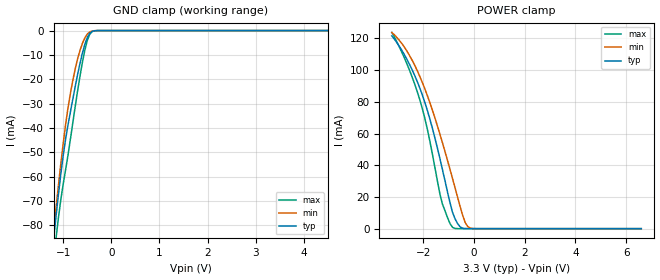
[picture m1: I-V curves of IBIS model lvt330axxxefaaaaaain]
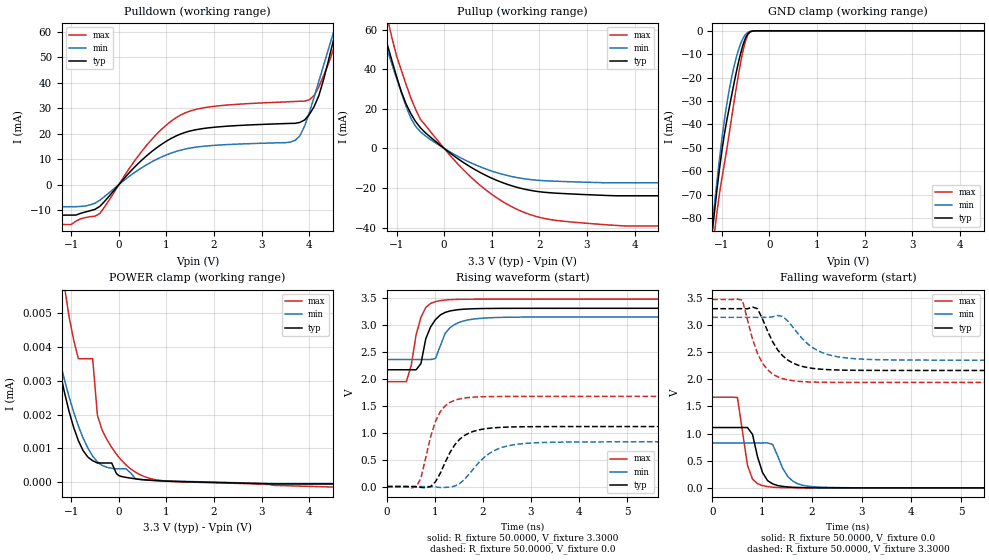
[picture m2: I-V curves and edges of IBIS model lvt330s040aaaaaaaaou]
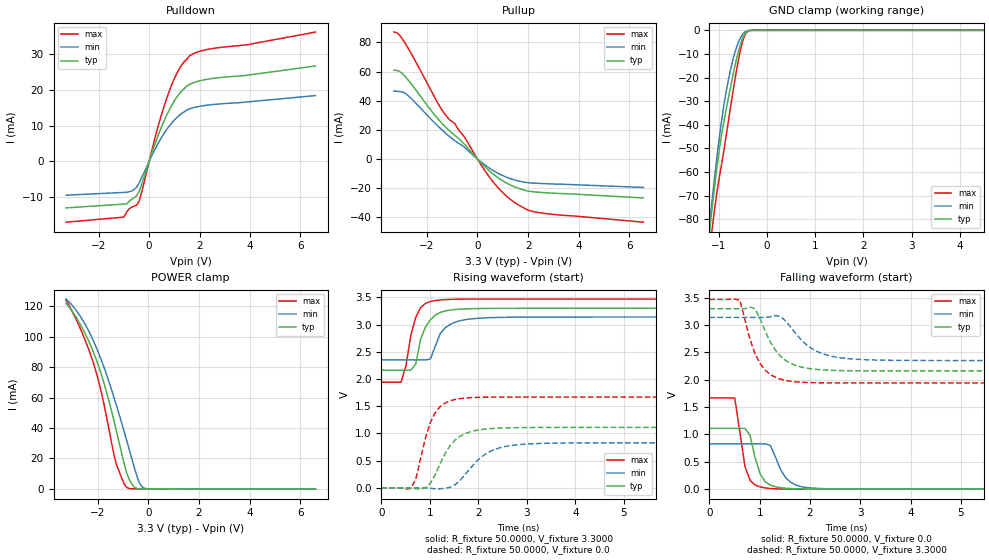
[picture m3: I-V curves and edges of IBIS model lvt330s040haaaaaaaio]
| IBIS Models Generator: Lattice Diamond (64-bit) 3.12.0.240.2
| Generate date: Tue Aug 17 06:21:03 2021
| IBIS File LibisMaker.ibs
| LibisGen v2.0.1.0, 02/25/2008, Lattice Semiconductor Corporation
| Modified by LibisMaker v2.0.1.0, 02/25/2008, Lattice Semiconductor
| North Carolina State University, ERL, 2006
[IBIS ver]   3.2
[File Name]   RAM2GS_LCMXO2_640HC~.ibs
[File Rev]   3.5
[Date]   Thu Sep 10 07:33:23 PDT 2020
[Source]   Lattice Semiconductor cs200fl Process
   LCMXO2-640HC   FINAL
   Lattice Semiconductor has worked hard to ensure the
   models below are accurate and complete.  However, the
   data below was generated using simulation of the
   input/output model files for the silicon.  Therefore,
   the data below is for reference and initial design
   purposes only.
   Lattice Semiconductor grants permission to use this
   data for use in printed circuit design using this
   Lattice programmable logic device.  Other use of this
   code, including the selling or duplication of any
   portion is strictly prohibited.
|   NAMING CONVENTION
   The IBIS [Model] header is limited by the specification to a
   total of characters.  With such a set of characters available
   for naming models it becomes important to attempt to
   meaningfully encode the IO standards so they fit within the
   twenty character limit.  It would seem that twenty characters
   would provide room enough for describing IO's.  However, the
   PLD IO structure continues to grow more and more complex.  The
   complexity is making the twenty characters insuffiently
   descriptive.  In order to overcome this issue the naming
   convention described below is implemented to resolve the issue.
The twenty character space is managed as follows:
   bbbvvvsdddprugtcoixx
   b = standard
   v = voltage (x.xx V)
   s = slew code
   d = drive (xx.x ma)
   p = pullup code
   r = series resistance  or bank_vccio code
   u = terminate to vcc code
   g = terminate to gnd code
   t = terminate to vtt code
   c = common mode termination mode
   o = diff resistor code
   i = diff resistor current code
   x = reserved
   standard
   lvcmos   lvc
   lvcmosd   lvd
   lvcmosr   lvr
   lvds25e   lve
   lvttl   lvt
   lvttld   ltd
   pci   pci
   sstl_I   ss1
   sstl_II   ss2
   sstld_I   s1d
   sstld_II   s2d
   hstl_i   hs1
   hstl_ii   hs2
   hstld_i   h1d
   hstld_ii   h2d
   lvds25   lvs
   blvds25   blv
   blvds25e   blv
   mlvds25   mlv
   mlvds25e   mlv
   lvpecl33   lvp
   lvpecl33e   lvp
   rsds25   rsd
   rsds25e   rse
   mipi   mip
   mipi_lp   mip
   vref1   vr1
   vref2   vr2
   ref_res   rer
   slew
   na   a
   fast   f
   slow   s
   pullmode
   off   a
   pullup   b
   pulldown   c
   bushold   d
   clamp   e
   up_clamp   f
   down_clamp   g
   keeper_clamp   h
   impedance or Bank_vccio
   off   a
   25   b
   33   c
   50   d
   100   e
   3.3   f
   2.5   g
   1.8   h
   1.5   i
   1.2   j
   termVCC
   off   a
   50   b
   100   c
   120   d
   termGND
   off   a
   50   b
   100   c
   120   d
   termVTT
   off   a
   60   b
   75   c
   120   d
   150   e
   210   f
   VCMT
   off   a
   VCMT   b
   VTT   c
   DDR-2   d
   differential resistor
   off   a
   100   b
   diff drive
   NA   a
   2.0   b
   3.5   c
   1.25   f
   2.5   g
   Reserved   IO type
   in   input only
   ou   output
   io   I/O
   od   Open drain
   on   Inverting differential I/O
   (signal name only)
   op   Non-Inverting differential I/O
   (signal name only)
   Lattice Semiconductor Corporation
   5555 NE Moore Court
   Hillsboro, OR 97214
   U.S.A
   TEL: 1-800-Lattice (USA and Canada)
   408-826-6000 (other locations)
   web: http://www.latticesemi.com/
   email: techsupport@latticesemi.com
[Disclaimer] This IBIS source code is intended as a design reference
   which illustrates how the Lattice Semiconductor device operates.
   It is the user's responsibility to verify their design for
   consistency and functionality through the use of formal
   verification methods.  Lattice Semiconductor provides no warranty
   regarding the use or functionality of this data.
[Copyright]   Copyright 2007 by Lattice Semiconductor Corporation
|   Component XO2
[Component]   XO2
[Manufacturer]   Lattice Semiconductor Corp.
[Package]
|TQFP100
| variable   typ   min   max
R_pkg   150.5m   124.0m   187.0m
L_pkg   6.27nH   5.50nH   7.16nH
C_pkg   0.95pF   0.87pF   1.07pF
[Pin] signal_name   model_name   R_pin   L_pin   C_pin
10   CROW[0]   lvt330axxxefaaaaaain
16   CROW[1]   lvt330axxxefaaaaaain
3   Din[0]   lvt330axxxefaaaaaain
96   Din[1]   lvt330axxxefaaaaaain
88   Din[2]   lvt330axxxefaaaaaain
97   Din[3]   lvt330axxxefaaaaaain
99   Din[4]   lvt330axxxefaaaaaain
98   Din[5]   lvt330axxxefaaaaaain
2   Din[6]   lvt330axxxefaaaaaain
1   Din[7]   lvt330axxxefaaaaaain
76   Dout[0]   lvt330s040aaaaaaaaou
86   Dout[1]   lvt330s040aaaaaaaaou
87   Dout[2]   lvt330s040aaaaaaaaou
85   Dout[3]   lvt330s040aaaaaaaaou
83   Dout[4]   lvt330s040aaaaaaaaou
84   Dout[5]   lvt330s040aaaaaaaaou
78   Dout[6]   lvt330s040aaaaaaaaou
82   Dout[7]   lvt330s040aaaaaaaaou
34   LED   lvt330s160aaaaaaaaou
14   MAin[0]   lvt330axxxefaaaaaain
12   MAin[1]   lvt330axxxefaaaaaain
13   MAin[2]   lvt330axxxefaaaaaain
21   MAin[3]   lvt330axxxefaaaaaain
20   MAin[4]   lvt330axxxefaaaaaain
19   MAin[5]   lvt330axxxefaaaaaain
24   MAin[6]   lvt330axxxefaaaaaain
18   MAin[7]   lvt330axxxefaaaaaain
25   MAin[8]   lvt330axxxefaaaaaain
32   MAin[9]   lvt330axxxefaaaaaain
8   PHI2   lvt330axxxefaaaaaain
66   RA[0]   lvt330s040aaaaaaaaou
64   RA[10]   lvt330s040aaaaaaaaou
59   RA[11]   lvt330s040aaaaaaaaou
67   RA[1]   lvt330s040aaaaaaaaou
69   RA[2]   lvt330s040aaaaaaaaou
71   RA[3]   lvt330s040aaaaaaaaou
74   RA[4]   lvt330s040aaaaaaaaou
70   RA[5]   lvt330s040aaaaaaaaou
68   RA[6]   lvt330s040aaaaaaaaou
75   RA[7]   lvt330s040aaaaaaaaou
65   RA[8]   lvt330s040aaaaaaaaou
62   RA[9]   lvt330s040aaaaaaaaou
58   RBA[0]   lvt330s040aaaaaaaaou
60   RBA[1]   lvt330s040aaaaaaaaou
53   RCKE   lvt330s040aaaaaaaaou
63   RCLK   lvt330axxxefaaaaaain
51   RDQMH   lvt330s040aaaaaaaaou
48   RDQML   lvt330s040aaaaaaaaou
36   RD[0]   lvt330s040haaaaaaaio
37   RD[1]   lvt330s040haaaaaaaio
38   RD[2]   lvt330s040haaaaaaaio
39   RD[3]   lvt330s040haaaaaaaio
40   RD[4]   lvt330s040haaaaaaaio
41   RD[5]   lvt330s040haaaaaaaio
42   RD[6]   lvt330s040haaaaaaaio
43   RD[7]   lvt330s040haaaaaaaio
9   nCCAS   lvt330axxxefaaaaaain
17   nCRAS   lvt330axxxefaaaaaain
15   nFWE   lvt330axxxefaaaaaain
52   nRCAS   lvt330s040aaaaaaaaou
57   nRCS   lvt330s040aaaaaaaaou
54   nRRAS   lvt330s040aaaaaaaaou
49   nRWE   lvt330s040aaaaaaaaou
| Models and submodels in the file (4): lvt330axxxefaaaaaain (Input), lvt330s040aaaaaaaaou (Output), lvt330s040haaaaaaaio (I/O), lvt330s160aaaaaaaaou (Output)
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[Model]   lvt330axxxefaaaaaain
Model_type   Input
Polarity   Non-Inverting
Enable   Active-Low
Vinl =   0.8000V
Vinh =   2.0000V
C_comp   4.2000pF   3.8000pF   7.5000pF
[Temperature Range]   25.0000   0.1050k   -40.0000
[Voltage Range]   3.3000V   3.1400V   3.4700V
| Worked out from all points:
|   GND clamp passes 1 mA (typ) near -0.44 V on its own axis
|   POWER clamp passes 1 mA (typ) near -0.54 V on its own axis
[GND_clamp]
|Voltage   I(typ)   I(min)   I(max)
-3.3V     -955.3mA   -930.3mA   -978mA
-1.2V     -86.18mA   -82.93mA   -94.91mA
-1.15V    -76.73mA   -73.29mA   -85.74mA
-1.1V     -67.71mA   -63.95mA   -77.28mA
-1V       -51.52mA   -46.57mA   -63.21mA
-900mV    -38.87mA   -31.88mA   -51.26mA
-800mV    -28.25mA   -20.58mA   -37.97mA
-700mV    -18.1mA    -11.63mA   -24.81mA
-600mV    -9.267mA   -5.265mA   -13.06mA
-450mV    -1.181mA   -586.6uA   -1.592mA
-250mV    -3.532uA   -4.055uA   -3.003uA
6.6V      0A         0A         0A
[POWER_clamp]
|Voltage   I(typ)   I(min)   I(max)
-3.25V    121.6mA    123.7mA    123.8mA
-2.55V    103.6mA    109.2mA    99.91mA
-2.05V    84.55mA    92.42mA    76.01mA
-1.85V    74.75mA    84.09mA    62.98mA
-1.65V    63.47mA    74.86mA    47.24mA
-1.35V    44.14mA    59.56mA    21.79mA
-1.25V    37.23mA    54.16mA    15.46mA
-850mV    10.22mA    31.49mA    813uA
-650mV    3.122mA    19.66mA    19.66uA
-350mV    37.56uA    3.815mA    1.535uA
-150mV    934.2nA    336.7uA    1.026uA
6.6V      -57.56nA   -49.34nA   -232.5nA
[Model]   lvt330s040aaaaaaaaou
Model_type   Output
Polarity   Non-Inverting
Enable   Active-Low
Vmeas =   1.500000V
Cref =   0.0F
Rref =   1.0000M
Vref =   0.0V
C_comp   4.2000pF   3.8000pF   7.5000pF
[Temperature Range]   25.0000   0.1050k   -40.0000
[Voltage Range]   3.3000V   3.1400V   3.4700V
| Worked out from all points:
|   slope of the pulldown table from 0 to 0.495 V, typ, clamps not added: 50.3 ohm
|   slope of the pullup table from 0 to 0.495 V, typ, clamps not added: 58.2 ohm
|   GND clamp passes 1 mA (typ) near -0.44 V on its own axis
|   rising waveform, R_fixture 50.0000, V_fixture 3.3000: 20-80 % time 264ps typ, 311ps min, 218ps max; typ from 2.16 V to 3.3 V
|   rising waveform, R_fixture 50.0000, V_fixture 0.0: 20-80 % time 438ps typ, 579ps min, 327ps max; typ from 0 V to 1.11 V
|   falling waveform, R_fixture 50.0000, V_fixture 0.0: 20-80 % time 219ps typ, 291ps min, 181ps max; typ from 1.11 V to 0 V
|   falling waveform, R_fixture 50.0000, V_fixture 3.3000: 20-80 % time 443ps typ, 565ps min, 361ps max; typ from 3.3 V to 2.16 V
[Pulldown]
|Voltage   I(typ)   I(min)   I(max)
-3.3V     -11.95mA   -8.665mA   -15.64mA
-1V       -11.95mA   -8.665mA   -15.64mA
-500mV    -9.688mA   -7.272mA   -12.36mA
600mV     11.57mA    7.979mA    15.78mA
1.3V      19.87mA    13.54mA    27.32mA
3.7V      24.03mA    17.34mA    32.61mA
3.9V      25.35mA    22.92mA    32.72mA
4.1V      30.57mA    34.32mA    34.98mA
4.3V      41.28mA    46.83mA    42.85mA
4.5V      56.15mA    59.31mA    52.63mA
4.6V      63.78mA    65.49mA    60.83mA
6.6V      186.7mA    170.5mA    212.2mA
[Pullup]
|Voltage   I(typ)   I(min)   I(max)
-3.3V     181.9mA    129.8mA    219mA
-1.4V     69.7mA     64.85mA    88.33mA
-1.3V     61.4mA     57.55mA    77.61mA
-1.2V     53.01mA    50.21mA    66.78mA
-1.1V     44.61mA    42.84mA    56.18mA
-800mV    22.47mA    21.3mA     32.3mA
-500mV    10.48mA    8.431mA    14.74mA
600mV     -10.05mA   -7.708mA   -15.35mA
1.6V      -20.1mA    -15.04mA   -31.52mA
2.3V      -22.53mA   -16.54mA   -36.2mA
3.7V      -23.93mA   -17.39mA   -39.04mA
6.55V     -23.93mA   -17.39mA   -39.15mA
[GND_clamp]
|Voltage   I(typ)   I(min)   I(max)
-3.3V     -955.3mA   -930.3mA   -978mA
-1.2V     -86.18mA   -82.93mA   -94.91mA
-1.15V    -76.73mA   -73.29mA   -85.74mA
-1.1V     -67.71mA   -63.95mA   -77.28mA
-1V       -51.52mA   -46.57mA   -63.21mA
-900mV    -38.87mA   -31.88mA   -51.26mA
-800mV    -28.25mA   -20.58mA   -37.97mA
-700mV    -18.1mA    -11.63mA   -24.81mA
-600mV    -9.267mA   -5.265mA   -13.06mA
-450mV    -1.181mA   -586.6uA   -1.592mA
-250mV    -3.532uA   -4.055uA   -3.003uA
6.6V      0A         0A         0A
[POWER_clamp]
|Voltage   I(typ)   I(min)   I(max)
-3.25V    664.8uA    749.4uA    597.1uA
-1.55V    5.916uA    5.714uA    11.4uA
-1.45V    4.989uA    4.975uA    9.753uA
-1.15V    2.705uA    3.075uA    5.865uA
-850mV    1.227uA    1.663uA    3.656uA
-550mV    632.7nA    767.9nA    3.656uA
-450mV    564.9nA    596.8nA    1.977uA
-150mV    564.9nA    405.6nA    1.026uA
0V        190.5nA    392.4nA    734.7nA
450mV     79.23nA    72.94nA    213.9nA
950mV     30.32nA    38.42nA    33.55nA
6.6V      -57.56nA   -49.34nA   -232.5nA
[Ramp]
| variable   typ   min   max
dV/dt_r  0.7026/0.4330n   0.4966/0.5731n   1.0018/0.3242n
dV/dt_f  0.6827/0.4387n   0.4730/0.5599n   0.9168/0.3576n
R_load = 50.0000
[Rising Waveform]
R_fixture=   50.0000
V_fixture=   3.3000
V_fixture_min=   3.1400
V_fixture_max=   3.4700
|time   V(typ)   V(min)   V(max)
0s        2.162V     2.352V     1.942V
404ps     2.162V     2.352V     1.942V
606.1ps   2.162V     2.352V     2.806V
707.1ps   2.276V     2.352V     3.134V
808.1ps   2.736V     2.352V     3.316V
1.01ns    3.091V     2.37V      3.424V
1.111ns   3.177V     2.605V     3.443V
1.414ns   3.267V     3.002V     3.464V
2.02ns    3.296V     3.119V     3.47V
10ns      3.3V       3.14V      3.47V
[Rising Waveform]
R_fixture=   50.0000
V_fixture=   0.0
V_fixture_min=   0.0
V_fixture_max=   0.0
|time   V(typ)   V(min)   V(max)
0s        1.288uV    1.554uV    1.323uV
606.1ps   -395.5uV   2.808uV    -9.94mV
707.1ps   -15.72mV   17.67uV    156.1mV
909.1ps   -458.6uV   -207.2uV   922.6mV
1.01ns    88.34mV    -6.184mV   1.209V
1.212ns   447.1mV    -16.04mV   1.495V
1.515ns   876.6mV    55.59mV    1.623V
2.121ns   1.079V     606.6mV    1.666V
2.828ns   1.107V     794.2mV    1.669V
10ns      1.111V     827.7mV    1.67V
[Falling Waveform]
R_fixture=   50.0000
V_fixture=   0.0
V_fixture_min=   0.0
V_fixture_max=   0.0
|time   V(typ)   V(min)   V(max)
0s        1.111V     827.7mV    1.67V
505.1ps   1.111V     827.7mV    1.664V
707.1ps   1.111V     827.7mV    415.7mV
808.1ps   985.1mV    827.7mV    161.2mV
1.01ns    281.4mV    828.2mV    40.87mV
1.111ns   132.9mV    828.5mV    22.94mV
1.212ns   73.68mV    799.7mV    12.45mV
1.515ns   17.1mV     211.6mV    2.151mV
2.02ns    2.152mV    21.8mV     239.2uV
10ns      -1.071uV   8.416uV    -6.671uV
[Falling Waveform]
R_fixture=   50.0000
V_fixture=   3.3000
V_fixture_min=   3.1400
V_fixture_max=   3.4700
|time   V(typ)   V(min)   V(max)
0s        3.3V       3.14V      3.47V
606.1ps   3.3V       3.14V      3.457V
808.1ps   3.33V      3.14V      2.74V
909.1ps   3.299V     3.14V      2.475V
1.01ns    3.108V     3.141V     2.293V
1.212ns   2.692V     3.151V     2.097V
1.515ns   2.355V     3.075V     1.988V
2.02ns    2.2V       2.581V     1.948V
2.727ns   2.167V     2.389V     1.942V
10ns      2.162V     2.352V     1.942V
[Model]   lvt330s040haaaaaaaio
Model_type   I/O
Polarity   Non-Inverting
Enable   Active-Low
Vinl =   0.8000V
Vinh =   2.0000V
Vmeas =   1.500000V
Cref =   0.0F
Rref =   1.0000M
Vref =   0.0V
C_comp   4.2000pF   3.8000pF   7.5000pF
[Temperature Range]   25.0000   0.1050k   -40.0000
[Voltage Range]   3.3000V   3.1400V   3.4700V
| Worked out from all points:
|   slope of the pulldown table from 0 to 0.495 V, typ, clamps not added: 50.7 ohm
|   slope of the pullup table from 0 to 0.495 V, typ, clamps not added: 58.5 ohm
|   GND clamp passes 1 mA (typ) near -0.44 V on its own axis
|   POWER clamp passes 1 mA (typ) near -0.53 V on its own axis
|   rising waveform, R_fixture 50.0000, V_fixture 3.3000: 20-80 % time 264ps typ, 311ps min, 218ps max; typ from 2.16 V to 3.3 V
|   rising waveform, R_fixture 50.0000, V_fixture 0.0: 20-80 % time 438ps typ, 579ps min, 327ps max; typ from 0 V to 1.11 V
|   falling waveform, R_fixture 50.0000, V_fixture 0.0: 20-80 % time 219ps typ, 291ps min, 181ps max; typ from 1.11 V to 0 V
|   falling waveform, R_fixture 50.0000, V_fixture 3.3000: 20-80 % time 443ps typ, 565ps min, 361ps max; typ from 3.3 V to 2.16 V
[Pulldown]
|Voltage   I(typ)   I(min)   I(max)
-3.3V     -13.02mA   -9.459mA   -17.02mA
-1V       -11.94mA   -8.676mA   -15.6mA
-800mV    -11.2mA    -8.504mA   -13.33mA
-500mV    -9.624mA   -7.225mA   -12.27mA
-400mV    -8.456mA   -6.081mA   -11.2mA
300mV     6.235mA    4.335mA    8.424mA
700mV     13.03mA    8.978mA    17.75mA
1.1V      18.03mA    12.33mA    24.74mA
1.6V      21.6mA     14.72mA    29.61mA
2.4V      23.15mA    15.86mA    31.52mA
3.9V      24.18mA    16.69mA    32.74mA
6.6V      26.77mA    18.46mA    36.26mA
[Pullup]
|Voltage   I(typ)   I(min)   I(max)
-3.3V     60.97mA    46.63mA    87.02mA
-3.1V     60.3mA     46.26mA    85.35mA
-2.8V     55.47mA    44.38mA    77.77mA
-1.8V     32.53mA    26.69mA    45.89mA
-1.3V     22.63mA    18.36mA    31.06mA
-900mV    16.24mA    12.6mA     24.47mA
500mV     -8.539mA   -6.566mA   -13.01mA
900mV     -13.85mA   -10.56mA   -21.29mA
1.3V      -17.84mA   -13.47mA   -27.72mA
1.9V      -21.64mA   -16.02mA   -34.34mA
2.4V      -22.76mA   -16.68mA   -36.68mA
6.55V     -26.68mA   -19.5mA    -43.31mA
[GND_clamp]
|Voltage   I(typ)   I(min)   I(max)
-3.3V     -955.2mA   -930.2mA   -977.8mA
-1.2V     -86.08mA   -82.87mA   -94.74mA
-1.15V    -76.63mA   -73.22mA   -85.57mA
-1.1V     -67.6mA    -63.89mA   -77.12mA
-1V       -51.41mA   -46.51mA   -63.06mA
-900mV    -38.77mA   -31.82mA   -51.11mA
-800mV    -28.16mA   -20.53mA   -37.82mA
-700mV    -18.01mA   -11.58mA   -24.66mA
-600mV    -9.185mA   -5.219mA   -12.92mA
-450mV    -1.125mA   -553.6uA   -1.501mA
-300mV    0A         0A         0A
6.6V      0A         0A         0A
[POWER_clamp]
|Voltage   I(typ)   I(min)   I(max)
-3.25V    122.1mA    124.8mA    124.2mA
-2.65V    107.1mA    112.6mA    104.1mA
-2.35V    97.06mA    103.7mA    91.56mA
-2.05V    84.81mA    92.86mA    76.2mA
-1.65V    63.69mA    75.19mA    47.4mA
-1.35V    44.32mA    59.82mA    21.89mA
-1.25V    37.38mA    54.39mA    15.53mA
-850mV    10.3mA     31.63mA    860uA
-650mV    3.168mA    19.76mA    65.53uA
-350mV    73.34uA    3.862mA    3.121uA
-150mV    17.77uA    366.8uA    -28.16uA
6.6V      -130.5uA   -83.29uA   -201.6uA
[Ramp]
| variable   typ   min   max
dV/dt_r  0.7026/0.4330n   0.4966/0.5731n   1.0018/0.3242n
dV/dt_f  0.6827/0.4387n   0.4730/0.5599n   0.9168/0.3576n
R_load = 50.0000
[Rising Waveform]
R_fixture=   50.0000
V_fixture=   3.3000
V_fixture_min=   3.1400
V_fixture_max=   3.4700
|time   V(typ)   V(min)   V(max)
0s        2.162V     2.352V     1.942V
404ps     2.162V     2.352V     1.942V
606.1ps   2.162V     2.352V     2.806V
707.1ps   2.276V     2.352V     3.134V
808.1ps   2.736V     2.352V     3.316V
1.01ns    3.091V     2.37V      3.424V
1.111ns   3.177V     2.605V     3.443V
1.414ns   3.267V     3.002V     3.464V
2.02ns    3.296V     3.119V     3.47V
10ns      3.3V       3.14V      3.47V
[Rising Waveform]
R_fixture=   50.0000
V_fixture=   0.0
V_fixture_min=   0.0
V_fixture_max=   0.0
|time   V(typ)   V(min)   V(max)
0s        1.288uV    1.554uV    1.323uV
606.1ps   -395.5uV   2.808uV    -9.94mV
707.1ps   -15.72mV   17.67uV    156.1mV
909.1ps   -458.6uV   -207.2uV   922.6mV
1.01ns    88.34mV    -6.184mV   1.209V
1.212ns   447.1mV    -16.04mV   1.495V
1.515ns   876.6mV    55.59mV    1.623V
2.121ns   1.079V     606.6mV    1.666V
2.828ns   1.107V     794.2mV    1.669V
10ns      1.111V     827.7mV    1.67V
[Falling Waveform]
R_fixture=   50.0000
V_fixture=   0.0
V_fixture_min=   0.0
V_fixture_max=   0.0
|time   V(typ)   V(min)   V(max)
0s        1.111V     827.7mV    1.67V
505.1ps   1.111V     827.7mV    1.664V
707.1ps   1.111V     827.7mV    415.7mV
808.1ps   985.1mV    827.7mV    161.2mV
1.01ns    281.4mV    828.2mV    40.87mV
1.111ns   132.9mV    828.5mV    22.94mV
1.212ns   73.68mV    799.7mV    12.45mV
1.515ns   17.1mV     211.6mV    2.151mV
2.02ns    2.152mV    21.8mV     239.2uV
10ns      -1.071uV   8.416uV    -6.671uV
[Falling Waveform]
R_fixture=   50.0000
V_fixture=   3.3000
V_fixture_min=   3.1400
V_fixture_max=   3.4700
|time   V(typ)   V(min)   V(max)
0s        3.3V       3.14V      3.47V
606.1ps   3.3V       3.14V      3.457V
808.1ps   3.33V      3.14V      2.74V
909.1ps   3.299V     3.14V      2.475V
1.01ns    3.108V     3.141V     2.293V
1.212ns   2.692V     3.151V     2.097V
1.515ns   2.355V     3.075V     1.988V
2.02ns    2.2V       2.581V     1.948V
2.727ns   2.167V     2.389V     1.942V
10ns      2.162V     2.352V     1.942V
